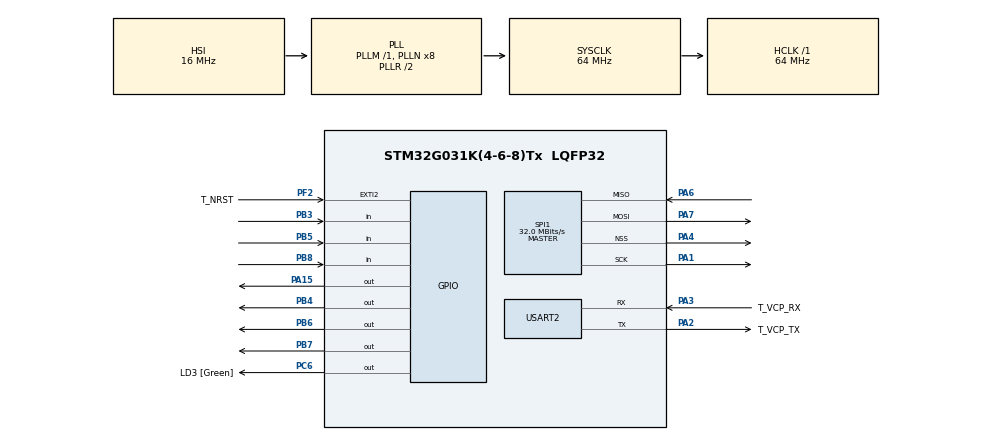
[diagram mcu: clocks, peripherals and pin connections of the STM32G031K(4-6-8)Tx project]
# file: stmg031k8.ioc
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Dma.Request0=SPI1_RX
Dma.Request1=SPI1_TX
Dma.SPI1_RX.0.Direction=DMA_PERIPH_TO_MEMORY
Dma.SPI1_RX.0.EventEnable=DISABLE
Dma.SPI1_RX.0.Instance=DMA1_Channel1
Dma.SPI1_RX.0.MemDataAlignment=DMA_MDATAALIGN_BYTE
Dma.SPI1_RX.0.MemInc=DMA_MINC_ENABLE
Dma.SPI1_RX.0.Mode=DMA_NORMAL
Dma.SPI1_RX.0.PeriphDataAlignment=DMA_PDATAALIGN_BYTE
Dma.SPI1_RX.0.PeriphInc=DMA_PINC_DISABLE
Dma.SPI1_RX.0.Polarity=HAL_DMAMUX_REQ_GEN_RISING
Dma.SPI1_RX.0.Priority=DMA_PRIORITY_LOW
Dma.SPI1_RX.0.RequestNumber=1
Dma.SPI1_RX.0.SignalID=NONE
Dma.SPI1_RX.0.SyncEnable=DISABLE
Dma.SPI1_RX.0.SyncPolarity=HAL_DMAMUX_SYNC_NO_EVENT
Dma.SPI1_RX.0.SyncRequestNumber=1
Dma.SPI1_RX.0.SyncSignalID=NONE
Dma.SPI1_TX.1.Direction=DMA_MEMORY_TO_PERIPH
Dma.SPI1_TX.1.EventEnable=DISABLE
Dma.SPI1_TX.1.Instance=DMA1_Channel2
Dma.SPI1_TX.1.MemDataAlignment=DMA_MDATAALIGN_BYTE
Dma.SPI1_TX.1.MemInc=DMA_MINC_ENABLE
Dma.SPI1_TX.1.Mode=DMA_NORMAL
Dma.SPI1_TX.1.PeriphDataAlignment=DMA_PDATAALIGN_BYTE
Dma.SPI1_TX.1.PeriphInc=DMA_PINC_DISABLE
Dma.SPI1_TX.1.Polarity=HAL_DMAMUX_REQ_GEN_RISING
Dma.SPI1_TX.1.Priority=DMA_PRIORITY_LOW
Dma.SPI1_TX.1.RequestNumber=1
Dma.SPI1_TX.1.SignalID=NONE
Dma.SPI1_TX.1.SyncEnable=DISABLE
Dma.SPI1_TX.1.SyncPolarity=HAL_DMAMUX_SYNC_NO_EVENT
Dma.SPI1_TX.1.SyncRequestNumber=1
Dma.SPI1_TX.1.SyncSignalID=NONE
Mcu.Family=STM32G0
Mcu.Name=STM32G031K(4-6-8)Tx
Mcu.Package=LQFP32
NVIC.DMA1_Channel1_IRQn=true\:0\:0\:false\:false\:true\:false\:true\:true
NVIC.DMA1_Channel2_3_IRQn=true\:0\:0\:false\:false\:true\:false\:true\:true
NVIC.SPI1_IRQn=true\:0\:0\:false\:false\:true\:true\:true\:true
NVIC.TIM2_IRQn=true\:0\:0\:false\:false\:true\:true\:true\:true
PA1.Mode=Full_Duplex_Master
PA1.Signal=SPI1_SCK
PA13.GPIO_Label=T_JTMS
PA13.Mode=Serial_Wire
PA13.Signal=SYS_SWDIO
PA14-BOOT0.GPIO_Label=T_JTCK
PA14-BOOT0.Mode=Serial_Wire
PA14-BOOT0.Signal=SYS_SWCLK
PA15.Signal=GPIO_Output
PA2.GPIO_Label=T_VCP_TX
PA2.GPIO_PuPd=GPIO_PULLUP
PA2.Mode=Asynchronous
PA2.Signal=USART2_TX
PA3.GPIO_Label=T_VCP_RX
PA3.GPIO_PuPd=GPIO_PULLUP
PA3.Mode=Asynchronous
PA3.Signal=USART2_RX
PA4.Mode=NSS_Signal_Hard_Output
PA4.Signal=SPI1_NSS
PA6.Mode=Full_Duplex_Master
PA6.Signal=SPI1_MISO
PA7.Mode=Full_Duplex_Master
PA7.Signal=SPI1_MOSI
PB3.Signal=GPIO_Input
PB4.Signal=GPIO_Output
PB5.Signal=GPIO_Input
PB6.Signal=GPIO_Output
PB7.Signal=GPIO_Output
PB8.Signal=GPIO_Input
PC14-OSC32_IN\ (PC14).Mode=LSE-External-Oscillator
PC14-OSC32_IN\ (PC14).Signal=RCC_OSC32_IN
PC15-OSC32_OUT\ (PC15).Mode=LSE-External-Oscillator
PC15-OSC32_OUT\ (PC15).Signal=RCC_OSC32_OUT
PC6.GPIO_Label=LD3 [Green]
PC6.Signal=GPIO_Output
PF2\ -\ NRST.GPIO_Label=T_NRST
PF2\ -\ NRST.Signal=GPXTI2
ProjectManager.HeapSize=0x200
ProjectManager.StackSize=0x400
ProjectManager.TargetToolchain=CMake
RCC.ADCFreq_Value=64000000
RCC.AHBFreq_Value=64000000
RCC.CortexFreq_Value=64000000
RCC.EXTERNAL_CLOCK_VALUE=12288000
RCC.HCLKFreq_Value=64000000
RCC.HSE_VALUE=8000000
RCC.HSI_VALUE=16000000
RCC.SYSCLKFreq_VALUE=64000000
RCC.SYSCLKSource=RCC_SYSCLKSOURCE_PLLCLK
RCC.VCOOutputFreq_Value=128000000
SPI1.CalculateBaudRate=32.0 MBits/s
SPI1.Direction=SPI_DIRECTION_2LINES
SPI1.Mode=SPI_MODE_MASTER
SPI1.VirtualNSS=VM_NSSHARD
SPI1.VirtualType=VM_MASTER
TIM2.Period=63999
USART2.VirtualMode-Asynchronous=VM_ASYNC
USART2.WordLength=WORDLENGTH_7B
VP_RTC_VS_RTC_Activate.Mode=RTC_Enabled
VP_RTC_VS_RTC_Calendar.Mode=RTC_Calendar
VP_TIM2_VS_ClockSourceINT.Mode=Internal
board=NUCLEO-G031K8

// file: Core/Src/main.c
/* USER CODE BEGIN Header */
/**
 ******************************************************************************
 * @file           : main.c
 * @brief          : Main program body
 ******************************************************************************
 * @attention
 *
 * Copyright (c) 2024 STMicroelectronics.
 * All rights reserved.
 *
 * This software is licensed under terms that can be found in the LICENSE file
 * in the root directory of this software component.
 * If no LICENSE file comes with this software, it is provided AS-IS.
 *
 ******************************************************************************
 */
/* USER CODE END Header */
#include "main.h"
#include "dma.h"
#include "gpio.h"
#include "rtc.h"
#include "spi.h"
#include "tim.h"
#include "usart.h"

/* USER CODE BEGIN Includes */
#include "communication.h"
#include <string.h>

/* USER CODE END Includes */

/* USER CODE BEGIN PD */
#define TRANSMITTER
// #define RECEIVER

/* USER CODE END PD */

void SystemClock_Config(void);

int main(void)
{

    /* MCU Configuration--------------------------------------------------------*/

    /* Reset of all peripherals, Initializes the Flash interface and the Systick. */
    HAL_Init();

    /* Configure the system clock */
    SystemClock_Config();

    /* Initialize all configured peripherals */
    MX_GPIO_Init();
    MX_DMA_Init();
    MX_USART2_UART_Init();
    MX_RTC_Init();
    MX_SPI1_Init();
    MX_TIM2_Init();
    /* USER CODE BEGIN 2 */
    comm_init();

#ifdef TRANSMITTER
    uint8_t data[32] = "SI4432 Transmitter\r\n";
    HAL_StatusTypeDef status = HAL_UART_Transmit_DMA(&huart2, data, strlen((const char *)data));
    status = HAL_TIM_Base_Start_IT(&htim2);
#endif
#ifdef RECEIVER
    uint8_t data[32] = "SI4432 Receiver\r\n";
    HAL_StatusTypeDef status = HAL_UART_Transmit_DMA(&huart2, data, strlen((const char *)data));
#endif
    if (status != HAL_OK)
    {
        Error_Handler();
    }

    /* USER CODE END 2 */

    /* Infinite loop */
    while (1)
    {

        /* USER CODE BEGIN 3 */
        HAL_Delay(1000);
        comm_run();
    }
    /* USER CODE END 3 */
}

void SystemClock_Config(void)
{
    RCC_OscInitTypeDef RCC_OscInitStruct = {0};
    RCC_ClkInitTypeDef RCC_ClkInitStruct = {0};

    /** Configure the main internal regulator output voltage
     */
    HAL_PWREx_ControlVoltageScaling(PWR_REGULATOR_VOLTAGE_SCALE1);

    /** Initializes the RCC Oscillators according to the specified parameters
     * in the RCC_OscInitTypeDef structure.
     */
    RCC_OscInitStruct.OscillatorType = RCC_OSCILLATORTYPE_HSI | RCC_OSCILLATORTYPE_LSI;
    RCC_OscInitStruct.HSIState = RCC_HSI_ON;
    RCC_OscInitStruct.HSIDiv = RCC_HSI_DIV1;
    RCC_OscInitStruct.HSICalibrationValue = RCC_HSICALIBRATION_DEFAULT;
    RCC_OscInitStruct.LSIState = RCC_LSI_ON;
    RCC_OscInitStruct.PLL.PLLState = RCC_PLL_ON;
    RCC_OscInitStruct.PLL.PLLSource = RCC_PLLSOURCE_HSI;
    RCC_OscInitStruct.PLL.PLLM = RCC_PLLM_DIV1;
    RCC_OscInitStruct.PLL.PLLN = 8;
    RCC_OscInitStruct.PLL.PLLP = RCC_PLLP_DIV2;
    RCC_OscInitStruct.PLL.PLLQ = RCC_PLLQ_DIV2;
    RCC_OscInitStruct.PLL.PLLR = RCC_PLLR_DIV2;
    if (HAL_RCC_OscConfig(&RCC_OscInitStruct) != HAL_OK)
    {
        Error_Handler();
    }

    /** Initializes the CPU, AHB and APB buses clocks
     */
    RCC_ClkInitStruct.ClockType = RCC_CLOCKTYPE_HCLK | RCC_CLOCKTYPE_SYSCLK | RCC_CLOCKTYPE_PCLK1;
    RCC_ClkInitStruct.SYSCLKSource = RCC_SYSCLKSOURCE_PLLCLK;
    RCC_ClkInitStruct.AHBCLKDivider = RCC_SYSCLK_DIV1;
    RCC_ClkInitStruct.APB1CLKDivider = RCC_HCLK_DIV1;

    if (HAL_RCC_ClockConfig(&RCC_ClkInitStruct, FLASH_LATENCY_2) != HAL_OK)
    {
        Error_Handler();
    }
}

/* USER CODE BEGIN 4 */
/*
 * Callback 5ms -> 200Hz
 */
void HAL_TIM_PeriodElapsedCallback(TIM_HandleTypeDef *htim)
{
    if (htim->Instance == TIM2)
    {
        comm_sendPacket();
    }

#ifdef RECEIVER
    Error_Handler();
#endif
}

void HAL_GPIO_EXTI_Falling_Callback(uint16_t GPIO_Pin)
{
    if (GPIO_Pin == GPIO_PIN_5)
    {
        comm_irqCallback();
    }
}

/* USER CODE END 4 */

void Error_Handler(void)
{
    /* USER CODE BEGIN Error_Handler_Debug */
    /* User can add his own implementation to report the HAL error return state */
    HAL_GPIO_WritePin(LD3_GPIO_Port, LD3_Pin, GPIO_PIN_SET);
    __disable_irq();
    while (1)
    {
    }
    /* USER CODE END Error_Handler_Debug */
}
